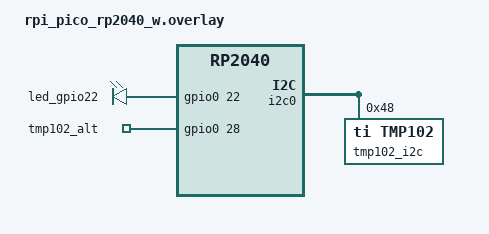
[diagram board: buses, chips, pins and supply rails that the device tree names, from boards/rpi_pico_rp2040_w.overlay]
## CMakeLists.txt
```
cmake_minimum_required(VERSION 3.20.0)

find_package(Zephyr)
project(temp-relay)

target_sources(app PRIVATE src/comms.c src/info.c src/monitor.c)
```

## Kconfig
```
# SPDX-License-Identifier: Apache-2.0

mainmenu "Temp Relay"

menu "Application"

config COMMS_STACK_SIZE
	int "Comms thread stack size"
	default 500
	help
	  This will be passed to thread creation in init.

config COMMS_PRIORITY
	int "Comms thread priority"
	default 5
	help
	  See CONFIG_NUM_COOP_PRIORITIES / CONFIG_NUM_PREEMPT_PRIORITIES.

config COMMS_LOG_LEVEL
	int "Comms thread log level"
	depends on LOG
	default 0
	help
	  Log levels: OFF(0), ERR(1), WRN(2), INF(3), DBG(4).

config COMMS_ALIVE_LOG_PERIOD_MS
	int "Comms thread alive log message period in millis"
	default 5000
	help
	  This is used to set the alive log ticking.

config INFO_STACK_SIZE
	int "Info thread stack size"
	default 500
	help
	  This will be passed to thread creation in init.

config INFO_PRIORITY
	int "Info thread priority"
	default 5
	help
	  See CONFIG_NUM_COOP_PRIORITIES / CONFIG_NUM_PREEMPT_PRIORITIES.

config INFO_LOG_LEVEL
	int "Info thread log level"
	depends on LOG
	default 0
	help
	  Log levels: OFF(0), ERR(1), WRN(2), INF(3), DBG(4).

config INFO_ALIVE_LED_PERIOD_MS
	int "Info thread alive led blinking period in millis"
	default 1000
	help
	  This is used to set the alive LED blinking.

config INFO_ALIVE_LOG_PERIOD_MS
	int "Info thread alive log message period in millis"
	default 5000
	help
	  This is used to set the alive log ticking.

config MONITOR_STACK_SIZE
	int "Monitor thread stack size"
	default 500
	help
	  This will be passed to thread creation in init.

config MONITOR_PRIORITY
	int "Monitor thread priority"
	default 5
	help
	  See CONFIG_NUM_COOP_PRIORITIES / CONFIG_NUM_PREEMPT_PRIORITIES.

config MONITOR_LOG_LEVEL
	int "Monitor thread log level"
	depends on LOG
	default 0
	help
	  Log levels: OFF(0), ERR(1), WRN(2), INF(3), DBG(4).

config MONITOR_ALIVE_LOG_PERIOD_MS
	int "Monitor thread alive log message period in millis"
	default 5000
	help
	  This is used to set the alive log ticking.

endmenu

source "Kconfig.zephyr"
```

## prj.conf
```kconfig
CONFIG_GPIO=y
CONFIG_I2C=y
CONFIG_CONSOLE=y

CONFIG_LOG=y
CONFIG_LOG_MODE_DEFERRED=y
CONFIG_LOG_DEFAULT_LEVEL=0
CONFIG_LOG_SIMPLE_MSG_OPTIMIZE=y
CONFIG_LOG_MODE_OVERFLOW=y
CONFIG_LOG_BACKEND_UART=y
CONFIG_COMMS_LOG_LEVEL=4
CONFIG_INFO_LOG_LEVEL=4
CONFIG_MONITOR_LOG_LEVEL=4

CONFIG_ASSERT=y
CONFIG_POLL=y
CONFIG_SCHED_DUMB=y

CONFIG_CYW43439=y
```

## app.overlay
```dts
/ {
    aliases {
	    led-alive = &led;
        alt-temp = &tmp102_alt;
        i2c-temp = &tmp102_i2c;
    };
    alerts {
        compatible = "gpio-keys";
        tmp102_alt: tmp102_alt {
            gpios = < &gpiob 8 GPIO_ACTIVE_HIGH >;
        };
    };
};

&i2c1 {
    tmp102_i2c: tmp102_i2c@48 {
        compatible = "ti,tmp102";
        reg = < 0x48 >;
        status = "okay";
    };
};
```

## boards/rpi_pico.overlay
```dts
/ {
    aliases {
	    led-alive = &led0;
    };
};

&led0 {
    gpios = <&gpio0 22 GPIO_ACTIVE_HIGH>;
};
```

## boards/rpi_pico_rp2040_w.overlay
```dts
/ {
    aliases {
	    led-alive = &led_gpio22;
        alt-temp = &tmp102_alt;
        i2c-temp = &tmp102_i2c;
    };
    leds {
		compatible = "gpio-leds";
		led_gpio22: led_gpio22 {
			gpios = <&gpio0 22 GPIO_ACTIVE_HIGH>;
		};
	};
    alts {
        compatible = "gpio-keys";
        tmp102_alt: tmp102_alt {
            gpios = < &gpio0 28 GPIO_ACTIVE_HIGH >;
        };
    };
};

&i2c0 {
    tmp102_i2c: tmp102_i2c@48 {
        compatible = "ti,tmp102";
        reg = < 0x48 >;
        status = "okay";
    };
};
```

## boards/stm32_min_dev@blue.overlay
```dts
/ {
    aliases {
	    led-alive = &led0;
        alt-temp = &tmp102_alt;
        i2c-temp = &tmp102_i2c;
    };
    alerts {
        compatible = "gpio-keys";
        tmp102_alt: tmp102_alt {
            gpios = < &gpiob 8 GPIO_ACTIVE_HIGH >;
        };
    };
};

&i2c1 {
    tmp102_i2c: tmp102_i2c@48 {
        compatible = "ti,tmp102";
        reg = < 0x48 >;
        status = "okay";
    };
};
```

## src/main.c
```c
#include <stdio.h>
#include <stdint.h>
#include <stdbool.h>

#include <zephyr/device.h>
#include <zephyr/devicetree.h>
#include <zephyr/drivers/gpio.h>
#include <zephyr/drivers/i2c.h>
#include <zephyr/kernel.h>
#include <zephyr/sys/util.h>

#define SLEEP_TIME_MS 1000

static const struct gpio_dt_spec led_alive = GPIO_DT_SPEC_GET(DT_ALIAS(led_alive), gpios);
static const struct gpio_dt_spec alt_temp = GPIO_DT_SPEC_GET(DT_ALIAS(alt_temp), gpios);
static const struct i2c_dt_spec i2c_temp = I2C_DT_SPEC_GET(DT_ALIAS(i2c_temp));

// TODO: move into Kconfig
#define CONFIG_COMMS_STACK_SIZE 500
#define CONFIG_COMMS_PRIORITY 5

#define CONFIG_INFO_STACK_SIZE 500
#define CONFIG_INFO_PRIORITY 5
#define CONFIG_INFO_ALIVE_PERIOD_MS 1000

#define CONFIG_MONITOR_STACK_SIZE 500
#define CONFIG_MONITOR_PRIORITY 5

static const uint8_t TMP102_REG_CURR = 0x00;
static const uint8_t TMP102_REG_CONF = 0x01;
static const uint8_t TMP102_REG_LOW = 0x02;
static const uint8_t TMP102_REG_HIGH = 0x03;

static float temp_from_bits(const uint8_t msb, const uint8_t lsb)
{
	int16_t val = ((int16_t)msb << 4) | (lsb >> 4);
	if (val > 0x7FF) {
		val |= 0xF000;
	}
	return (val * 0.0625) * 100;
}

static int16_t temp_to_bits(const float temp)
{
	int16_t bits = (int16_t)((double)temp / 0.0625);
	if (bits < 0) {
		bits &= 0x0FFF;
	}
	return bits;
}

static int temp_read_config(uint16_t *config)
{
	int err;
	uint8_t buf[2];

	if (!i2c_is_ready_dt(&i2c_temp)) {
		return -ENODEV;
	}

	buf[0] = TMP102_REG_CONF;
	buf[1] = 0;

	err = i2c_write_read_dt(&i2c_temp, buf, 1, buf, sizeof(buf));
	*config = (buf[0] << 8) | buf[1];

	return err;
}

static int temp_write_config(const uint16_t config)
{
	uint8_t buf[3];

	if (!i2c_is_ready_dt(&i2c_temp)) {
		return -ENODEV;
	}

	buf[0] = TMP102_REG_CONF;
	buf[1] = config >> 8;
	buf[2] = config & 0xFF;

	return i2c_write_dt(&i2c_temp, buf, sizeof(buf));
}

static int temp_read(const uint8_t reg, float *temp)
{
	int err;
	uint8_t buf[2];

	if (!i2c_is_ready_dt(&i2c_temp)) {
		return -ENODEV;
	}

	buf[0] = reg;
	buf[1] = 0;

	err = i2c_write_read_dt(&i2c_temp, buf, 1, buf, sizeof(buf));
	*temp = temp_from_bits(buf[0], buf[1]);

	return err;
}

static int temp_write(const uint8_t reg, const float temp)
{
	uint8_t buf[3];
	int16_t temp_bits;

	if (!i2c_is_ready_dt(&i2c_temp)) {
		return -ENODEV;
	}

	temp_bits = temp_to_bits(temp);
	buf[0] = reg;
	buf[1] = (uint8_t)(temp_bits >> 4);
	buf[2] = (uint8_t)(temp_bits << 4);

	return i2c_write_dt(&i2c_temp, buf, sizeof(buf));
}

static void comms_run_thread()
{
	while (true) {
		k_msleep(SLEEP_TIME_MS);
	}
}

K_THREAD_DEFINE(comms_thread, CONFIG_COMMS_STACK_SIZE, comms_run_thread, NULL, NULL, NULL, CONFIG_COMMS_PRIORITY, 0, 0);

struct k_poll_signal info_signal;
struct k_poll_event info_events[1];
#define INFO_ALIVE_SIGNAL 0x42

struct k_timer info_timer;

void info_run_timer()
{
	k_poll_signal_raise(&info_signal, INFO_ALIVE_SIGNAL);
}

static void info_init_gpio(void)
{
	int err;

	err = gpio_is_ready_dt(&led_alive) ? 0 : -EBUSY;
	if (!err) {
		err = gpio_pin_configure_dt(&led_alive, GPIO_OUTPUT_ACTIVE);
	}

	__ASSERT_NO_MSG(!err);
}

static void info_init_signals(void)
{
	k_poll_signal_init(&info_signal);
	k_poll_event_init(&info_events[0], K_POLL_TYPE_SIGNAL, K_POLL_MODE_NOTIFY_ONLY, &info_signal);
}

static void info_init_timer(void)
{
	k_timer_init(&info_timer, info_run_timer, NULL);
	k_timer_start(&info_timer, K_NO_WAIT, K_MSEC(CONFIG_INFO_ALIVE_PERIOD_MS));
}

static void info_run_thread()
{
	int sig_state = 0, sig_result = 0;

	info_init_gpio();
	info_init_signals();
	info_init_timer();

	while (true) {
		k_poll(info_events, ARRAY_SIZE(info_events), K_FOREVER);

		if (info_events[0].state == K_POLL_STATE_SIGNALED) {
			k_poll_signal_check(&info_signal, &sig_state, &sig_result);
			k_poll_signal_reset(&info_signal);
			info_events[0].state = K_POLL_STATE_NOT_READY;
		}

		if (sig_state && sig_result == INFO_ALIVE_SIGNAL) {
			gpio_pin_toggle_dt(&led_alive);
		}
	}
}

K_THREAD_DEFINE(info_thread, CONFIG_INFO_STACK_SIZE, info_run_thread, NULL, NULL, NULL, CONFIG_INFO_PRIORITY, 0, 0);

static struct gpio_callback alt_temp_cb_data;

static void monitor_alt_temp(const struct device *dev, struct gpio_callback *cb, const uint32_t pins)
{
	printf("Alert!\n");
}

static void monitor_init_gpio(void)
{
	int err;

	err = gpio_is_ready_dt(&alt_temp) ? 0 : -EBUSY;
	if (!err) {
		err = gpio_pin_configure_dt(&alt_temp, GPIO_INPUT);
	}
	__ASSERT_NO_MSG(!err);

	if (!err) {
		err = gpio_pin_interrupt_configure_dt(&alt_temp, GPIO_INT_EDGE_TO_ACTIVE);
	}
	__ASSERT_NO_MSG(!err);

	if (!err) {
		gpio_init_callback(&alt_temp_cb_data, monitor_alt_temp, BIT(alt_temp.pin));
		gpio_add_callback(alt_temp.port, &alt_temp_cb_data);
	}
}

static void monitor_run_thread()
{
	uint16_t config = 0;
	float temp = 0;

	monitor_init_gpio();

	if (!temp_read(TMP102_REG_LOW, &temp)) {
		printf("Low on init: %u.%02u C\n", ((unsigned int)temp / 100), ((unsigned int)temp % 100));
	}
	temp_write(TMP102_REG_LOW, 29.0);
	if (!temp_read(TMP102_REG_LOW, &temp)) {
		printf("Low now: %u.%02u C\n", ((unsigned int)temp / 100), ((unsigned int)temp % 100));
	}
	if (!temp_read(TMP102_REG_HIGH, &temp)) {
		printf("High on init: %u.%02u C\n", ((unsigned int)temp / 100), ((unsigned int)temp % 100));
	}
	temp_write(TMP102_REG_HIGH, 30.0);
	if (!temp_read(TMP102_REG_HIGH, &temp)) {
		printf("High now: %u.%02u C\n", ((unsigned int)temp / 100), ((unsigned int)temp % 100));
	}

	if (!temp_read_config(&config)) {
		printf("Config on init: 0x%x\n", config);
	}
	if (!temp_write_config(config | (1 << 10))) {
		printf("Config updated...\n");
	}
	if (!temp_read_config(&config)) {
		printf("Config now: 0x%x\n", config);
	}

	while (true) {
		if (!temp_read(TMP102_REG_CURR, &temp)) {
			printf("Current: %u.%02u C\n", ((unsigned int)temp / 100), ((unsigned int)temp % 100));
		}
		k_msleep(SLEEP_TIME_MS);
	}
}

K_THREAD_DEFINE(monitor_thread, CONFIG_MONITOR_STACK_SIZE, monitor_run_thread, NULL, NULL, NULL,
		CONFIG_MONITOR_PRIORITY, 0, 0);
```

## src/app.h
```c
// TODO: add monitor/comms leds
// TODO: add rolling buffer monitor data
// TODO: signal state into info from other threads
// TODO: add wifi support
```

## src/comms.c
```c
#include <stdbool.h>

#include <zephyr/kernel.h>
#include <zephyr/logging/log.h>
#include <zephyr/sys/util.h>

#include "app.h"

LOG_MODULE_REGISTER(comms, CONFIG_COMMS_LOG_LEVEL);

static void comms_run_thread()
{
	while (true) {
		LOG_INF("thread is alive...");
		k_msleep(CONFIG_COMMS_ALIVE_LOG_PERIOD_MS);
	}
}

K_THREAD_DEFINE(comms_thread, CONFIG_COMMS_STACK_SIZE, comms_run_thread, NULL, NULL, NULL, CONFIG_COMMS_PRIORITY, 0, 0);
```

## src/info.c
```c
#include <stdbool.h>

#include <zephyr/device.h>
#include <zephyr/devicetree.h>
#include <zephyr/drivers/gpio.h>
#include <zephyr/kernel.h>
#include <zephyr/logging/log.h>
#include <zephyr/sys/util.h>

#include <app_version.h>

#include "app.h"

LOG_MODULE_REGISTER(info, CONFIG_INFO_LOG_LEVEL);

#define INFO_SIGNAL_UNKNOWN 0x0
#define INFO_SIGNAL_ALIVE_LED 0x1
#define INFO_SIGNAL_ALIVE_LOG 0x2

static struct k_timer info_alive_led_timer;
static struct k_timer info_alive_log_timer;

static const struct gpio_dt_spec info_alive_led = GPIO_DT_SPEC_GET(DT_ALIAS(led_alive), gpios);

static struct k_poll_signal info_alive_led_signal;
static struct k_poll_signal info_alive_log_signal;
static struct k_poll_event info_events[2];

static void info_alive_led_service()
{
	k_poll_signal_raise(&info_alive_led_signal, INFO_SIGNAL_ALIVE_LED);
}

static void info_alive_log_service()
{
	k_poll_signal_raise(&info_alive_log_signal, INFO_SIGNAL_ALIVE_LOG);
}

static void info_init_gpio(void)
{
	int err;

	err = gpio_is_ready_dt(&info_alive_led) ? 0 : -EBUSY;
	if (!err) {
		err = gpio_pin_configure_dt(&info_alive_led, GPIO_OUTPUT_ACTIVE);
	}

	__ASSERT_NO_MSG(!err);
}

static void info_init_signals(void)
{
	k_poll_signal_init(&info_alive_led_signal);
	k_poll_signal_init(&info_alive_log_signal);

	k_poll_event_init(&info_events[0], K_POLL_TYPE_SIGNAL, K_POLL_MODE_NOTIFY_ONLY, &info_alive_led_signal);
	k_poll_event_init(&info_events[1], K_POLL_TYPE_SIGNAL, K_POLL_MODE_NOTIFY_ONLY, &info_alive_log_signal);
}

static void info_init_timer(void)
{
	k_timer_init(&info_alive_led_timer, info_alive_led_service, NULL);
	k_timer_init(&info_alive_log_timer, info_alive_log_service, NULL);

	k_timer_start(&info_alive_led_timer, K_NO_WAIT, K_MSEC(CONFIG_INFO_ALIVE_LED_PERIOD_MS));
	k_timer_start(&info_alive_log_timer, K_NO_WAIT, K_MSEC(CONFIG_INFO_ALIVE_LOG_PERIOD_MS));
}

static void info_run_thread()
{
	int state = 0, type = INFO_SIGNAL_UNKNOWN;

	info_init_gpio();
	info_init_signals();
	info_init_timer();

	LOG_INF("running v%s", APP_VERSION_STRING);

	while (true) {
		k_poll(info_events, ARRAY_SIZE(info_events), K_FOREVER);

		if (info_events[0].state == K_POLL_STATE_SIGNALED) {
			k_poll_signal_check(&info_alive_led_signal, &state, (int *)&type);
			k_poll_signal_reset(&info_alive_led_signal);
			info_events[0].state = K_POLL_STATE_NOT_READY;
			if (state && type == INFO_SIGNAL_ALIVE_LED) {
				gpio_pin_toggle_dt(&info_alive_led);
			}
		}

		if (info_events[1].state == K_POLL_STATE_SIGNALED) {
			k_poll_signal_check(&info_alive_log_signal, &state, (int *)&type);
			k_poll_signal_reset(&info_alive_log_signal);
			info_events[1].state = K_POLL_STATE_NOT_READY;
			if (state && type == INFO_SIGNAL_ALIVE_LOG) {
				LOG_INF("thread is alive...");
			}
		}
	}
}

K_THREAD_DEFINE(info_thread, CONFIG_INFO_STACK_SIZE, info_run_thread, NULL, NULL, NULL, CONFIG_INFO_PRIORITY, 0, 0);
```

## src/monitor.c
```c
#include <stdbool.h>
#include <stdint.h>
#include <stdio.h>

#include <zephyr/drivers/gpio.h>
#include <zephyr/drivers/i2c.h>
#include <zephyr/kernel.h>
#include <zephyr/logging/log.h>
#include <zephyr/sys/util.h>

#include "app.h"

LOG_MODULE_REGISTER(monitor, CONFIG_MONITOR_LOG_LEVEL);

#define TMP102_REG_CURR 0x00
#define TMP102_REG_CONF 0x01
#define TMP102_REG_LOW 0x02
#define TMP102_REG_HIGH 0x03

static struct gpio_callback alt_temp_cb_data;
static const struct gpio_dt_spec alt_temp = GPIO_DT_SPEC_GET(DT_ALIAS(alt_temp), gpios);
static const struct i2c_dt_spec i2c_temp = I2C_DT_SPEC_GET(DT_ALIAS(i2c_temp));

static float temp_from_bits(const uint8_t msb, const uint8_t lsb)
{
	int16_t val = ((int16_t)msb << 4) | (lsb >> 4);
	if (val > 0x7FF) {
		val |= 0xF000;
	}
	return (val * 0.0625) * 100;
}

static int16_t temp_to_bits(const float temp)
{
	int16_t bits = (int16_t)((double)temp / 0.0625);
	if (bits < 0) {
		bits &= 0x0FFF;
	}
	return bits;
}

static int temp_read_config(uint16_t *config)
{
	int err;
	uint8_t buf[2];

	if (!i2c_is_ready_dt(&i2c_temp)) {
		LOG_ERR("i2c temp module not ready");
		return -ENODEV;
	}

	buf[0] = TMP102_REG_CONF;
	buf[1] = 0;

	err = i2c_write_read_dt(&i2c_temp, buf, 1, buf, sizeof(buf));
	*config = (buf[0] << 8) | buf[1];

	if (err) {
		LOG_ERR("i2c temp module err: %d", err);
	}

	return err;
}

static int temp_write_config(const uint16_t config)
{
	int err;
	uint8_t buf[3];

	if (!i2c_is_ready_dt(&i2c_temp)) {
		LOG_ERR("i2c temp module not ready");
		return -ENODEV;
	}

	buf[0] = TMP102_REG_CONF;
	buf[1] = config >> 8;
	buf[2] = config & 0xFF;
	err = i2c_write_dt(&i2c_temp, buf, sizeof(buf));

	if (err) {
		LOG_ERR("i2c temp module err: %d", err);
	}

	return err;
}

static int temp_read(const uint8_t reg, float *temp)
{
	int err;
	uint8_t buf[2];

	if (!i2c_is_ready_dt(&i2c_temp)) {
		LOG_ERR("i2c temp module not ready");
		return -ENODEV;
	}

	buf[0] = reg;
	buf[1] = 0;

	err = i2c_write_read_dt(&i2c_temp, buf, 1, buf, sizeof(buf));
	*temp = temp_from_bits(buf[0], buf[1]);

	if (err) {
		LOG_ERR("i2c temp module err: %d", err);
	}

	return err;
}

static int temp_write(const uint8_t reg, const float temp)
{
	int err;
	uint8_t buf[3];
	int16_t temp_bits;

	if (!i2c_is_ready_dt(&i2c_temp)) {
		LOG_ERR("i2c temp module not ready");
		return -ENODEV;
	}

	temp_bits = temp_to_bits(temp);
	buf[0] = reg;
	buf[1] = (uint8_t)(temp_bits >> 4);
	buf[2] = (uint8_t)(temp_bits << 4);
	err = i2c_write_dt(&i2c_temp, buf, sizeof(buf));

	if (err) {
		LOG_ERR("i2c temp module err: %d", err);
	}

	return err;
}

static void temp_log(const char *label, const float temp)
{
	unsigned int decimal, fraction;

	decimal = ((unsigned int)temp / 100);
	fraction = ((unsigned int)temp % 100);

	LOG_INF("%s: %u.%02u C", label, decimal, fraction);
}

static void config_log(const char *label, const uint16_t config)
{
	LOG_INF("%s: 0x%x", label, config);
}

static void monitor_alt_temp(const struct device *dev, struct gpio_callback *cb, const uint32_t pins)
{
	(void)dev;
	(void)cb;
	(void)pins;
	LOG_INF("alert!");
}

static void monitor_init_gpio(void)
{
	int err;

	err = gpio_is_ready_dt(&alt_temp) ? 0 : -EBUSY;
	if (!err) {
		err = gpio_pin_configure_dt(&alt_temp, GPIO_INPUT);
	}
	__ASSERT_NO_MSG(!err);

	if (!err) {
		err = gpio_pin_interrupt_configure_dt(&alt_temp, GPIO_INT_EDGE_TO_ACTIVE);
	}
	__ASSERT_NO_MSG(!err);

	if (!err) {
		gpio_init_callback(&alt_temp_cb_data, monitor_alt_temp, BIT(alt_temp.pin));
		gpio_add_callback(alt_temp.port, &alt_temp_cb_data);
	}
}

static int monitor_init_temp(void)
{
	int err;
	float temp = 0;
	uint16_t config = 0;

	err = temp_read(TMP102_REG_LOW, &temp);
	if (err) {
		return err;
	}
	temp_log("low temp on boot", temp);
	err = temp_write(TMP102_REG_LOW, 30.0);
	if (err) {
		return err;
	}
	err = temp_read(TMP102_REG_LOW, &temp);
	if (err) {
		return err;
	}
	temp_log("low temp", temp);

	err = temp_read(TMP102_REG_HIGH, &temp);
	if (err) {
		return err;
	}
	temp_log("high temp on boot", temp);
	err = temp_write(TMP102_REG_HIGH, 31.0);
	if (err) {
		return err;
	}
	err = temp_read(TMP102_REG_HIGH, &temp);
	if (err) {
		return err;
	}
	temp_log("high temp", temp);

	err = temp_read_config(&config);
	if (err) {
		return err;
	}
	config_log("config on boot", config);
	err = temp_write_config(config | (1 << 10));
	if (err) {
		return err;
	}
	err = temp_read_config(&config);
	if (err) {
		return err;
	}
	config_log("config", config);

	return err;
}

static void monitor_run_thread()
{
	float temp = 0;

	monitor_init_gpio();
	if (monitor_init_temp()) {
		return;
	}

	while (true) {
		LOG_INF("thread is alive...");
		if (!temp_read(TMP102_REG_CURR, &temp)) {
			temp_log("current", temp);
		}
		k_msleep(CONFIG_MONITOR_ALIVE_LOG_PERIOD_MS);
	}
}

K_THREAD_DEFINE(monitor_thread, CONFIG_MONITOR_STACK_SIZE, monitor_run_thread, NULL, NULL, NULL,
		CONFIG_MONITOR_PRIORITY, 0, 0);
```
